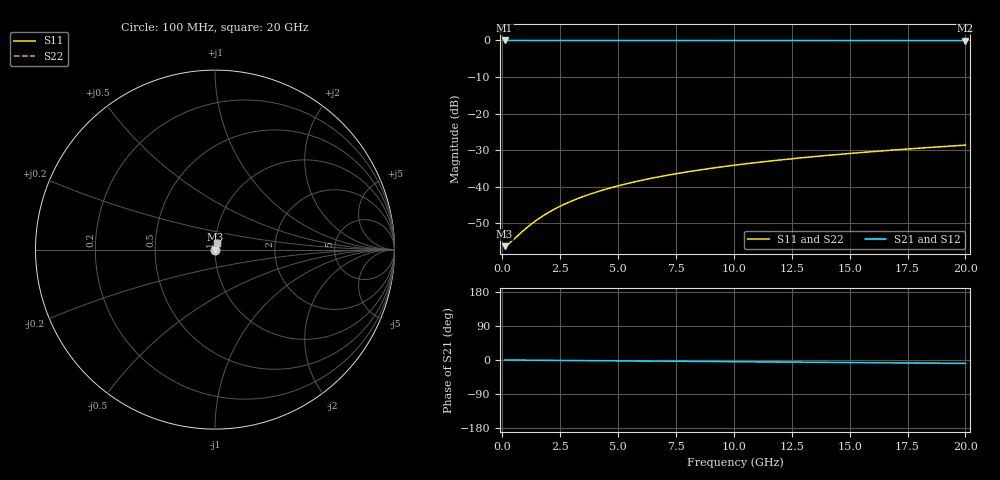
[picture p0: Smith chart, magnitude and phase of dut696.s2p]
! Touchstone file exported from HFSS 2026.1.0
!  File:  C:/ffzhzh/LocalFiles/Ansys_Project_Files/temp_train_TSV_696_1783027774_55676.aedt
!  Generated:  05:32:17 AM Jul  3, 2026
!  Design:  TSV
!  Project:  temp_train_TSV_696_1783027774_55676
! Variables:
!  h_bsmrdl = 2um
!  h_ox = 20um
!  h_rdl = 5um
!  h_sub = 94.12um
!  h_tmrdl = 5um
!  h_tsv = 94.12um
!  h_via = 3um
!  l_bsmrdl = 300um
!  l_sub = 405.34um
!  l_tmrdl = 200um
!  m_sub = 200um
!  pitch = 15.52um
!  r_tsv = 2.67um
!  s_tmrdl = 10um
!  w_bsmrdl = 18um
!  w_sub = 500um
!  w_tmrdl = 12um
!  x_tsv_center1 = 206um
!  x_tsv_center2 = 524um
!  x_tsv_center3 = 736um
!  x_tsv_center4 = 1054um
!  x_tsv_center5 = 1266um
!  x_tsv_center6 = 1584um
# GHz S MA R 50.000000
! Terminal data exported
! Port[1] = TSV1_1_T1
! Port[2] = TSV1_1_T2
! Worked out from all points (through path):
!   200 points, 100 MHz to 20 GHz, reference 50 ohm
!   highest |S21| = -0.01 dB at 100 MHz (marker M1); lowest = 0.0 dB at 20 GHz (marker M2)
!   group delay of S21, straight-line fit = 1.22 ps
!   lowest |S11| = -56.3 dB at 100 MHz (marker M3), VSWR 1.00, Z = 50.2 + j0.0225 ohm
!   |S11| at or under -10 dB: start of sweep to end of sweep
!   |S22| runs from -56.3 to -28.6 dB; largest |S21 - S12| = 5.2e-15
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0.1  0.001539 8.4  0.9985 -0.0  0.9985 -0.0  0.001539 8.4
! Gamma 0 0 0 0
! Port Impedance 50 0 50 0
0.2  0.001597 16.2  0.9985 -0.1  0.9985 -0.1  0.001597 16.2
0.3  0.001683 23.1  0.9985 -0.1  0.9985 -0.1  0.001683 23.1
0.9  0.002493 49.0  0.9984 -0.4  0.9984 -0.4  0.002493 49.0
1.2  0.002992 56.0  0.9983 -0.5  0.9983 -0.5  0.002992 56.0
1.5  0.003523 61.0  0.9983 -0.7  0.9983 -0.7  0.003523 61.0
1.8  0.004076 64.6  0.9983 -0.8  0.9983 -0.8  0.004076 64.6
2.2  0.004832 68.0  0.9983 -1.0  0.9983 -1.0  0.004832 68.0
2.6  0.005603 70.4  0.9982 -1.2  0.9982 -1.2  0.005603 70.4
3  0.00638 72.1  0.9982 -1.4  0.9982 -1.4  0.00638 72.1
3.5  0.007356 73.6  0.9981 -1.6  0.9981 -1.6  0.007356 73.6
4.2  0.008723 75.0  0.998 -1.9  0.998 -1.9  0.008723 75.0
5  0.01028 75.9  0.9978 -2.3  0.9978 -2.3  0.01028 75.9
5.9  0.01201 76.4  0.9977 -2.7  0.9977 -2.7  0.01201 76.4
6.8  0.01372 76.7  0.9975 -3.1  0.9975 -3.1  0.01372 76.7
8.3  0.01653 76.8  0.9971 -3.7  0.9971 -3.7  0.01653 76.8
10.1  0.01982 76.6  0.9967 -4.5  0.9967 -4.5  0.01982 76.6
11.7  0.02269 76.3  0.9964 -5.2  0.9964 -5.2  0.02269 76.3
13.4  0.02569 75.9  0.996 -6.0  0.996 -6.0  0.02569 75.9
15  0.02848 75.5  0.9957 -6.7  0.9957 -6.7  0.02848 75.5
16.7  0.03141 75.0  0.9954 -7.4  0.9954 -7.4  0.03141 75.0
20  0.03703 74.1  0.9947 -8.8  0.9947 -8.8  0.03703 74.1
